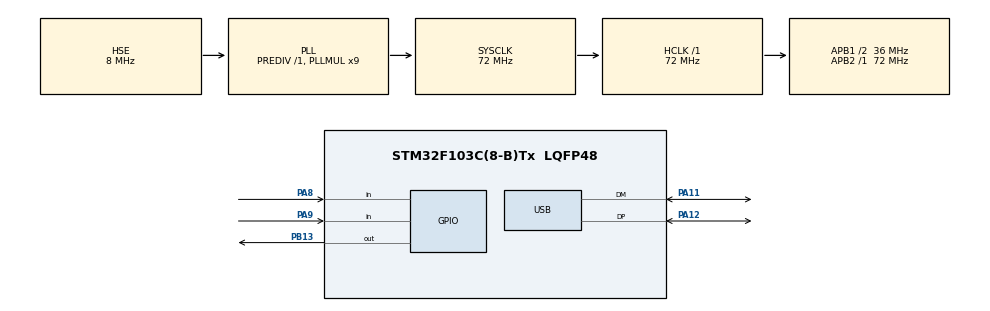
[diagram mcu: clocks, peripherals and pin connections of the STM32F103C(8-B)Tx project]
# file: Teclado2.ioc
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Mcu.Family=STM32F1
Mcu.Name=STM32F103C(8-B)Tx
Mcu.Package=LQFP48
NVIC.PriorityGroup=NVIC_PRIORITYGROUP_4
NVIC.USB_LP_CAN1_RX0_IRQn=true\:0\:0\:false\:false\:true\:false\:true
PA11.Mode=Device
PA11.Signal=USB_DM
PA12.Mode=Device
PA12.Signal=USB_DP
PA13.Mode=Serial_Wire
PA13.Signal=SYS_JTMS-SWDIO
PA14.Mode=Serial_Wire
PA14.Signal=SYS_JTCK-SWCLK
PA8.GPIO_PuPd=GPIO_PULLUP
PA8.Signal=GPIO_Input
PA9.GPIO_PuPd=GPIO_PULLUP
PA9.Signal=GPIO_Input
PB13.GPIO_PuPd=GPIO_NOPULL
PB13.Signal=GPIO_Output
PD0-OSC_IN.Mode=HSE-External-Oscillator
PD0-OSC_IN.Signal=RCC_OSC_IN
PD1-OSC_OUT.Mode=HSE-External-Oscillator
PD1-OSC_OUT.Signal=RCC_OSC_OUT
ProjectManager.HeapSize=0x200
ProjectManager.StackSize=0x400
ProjectManager.TargetToolchain=STM32CubeIDE
RCC.AHBFreq_Value=72000000
RCC.APB1CLKDivider=RCC_HCLK_DIV2
RCC.APB1Freq_Value=36000000
RCC.APB1TimFreq_Value=72000000
RCC.APB2Freq_Value=72000000
RCC.APB2TimFreq_Value=72000000
RCC.HCLKFreq_Value=72000000
RCC.PLLMUL=RCC_PLL_MUL9
RCC.SYSCLKFreq_VALUE=72000000
RCC.SYSCLKSource=RCC_SYSCLKSOURCE_PLLCLK
RCC.USBFreq_Value=48000000
RCC.USBPrescaler=RCC_USBCLKSOURCE_PLL_DIV1_5
USB_DEVICE.CLASS_NAME_FS=HID
USB_DEVICE.PRODUCT_STRING_HID_FS=STM32 Teclado
USB_DEVICE.VirtualMode=Hid
USB_DEVICE.VirtualModeFS=Hid_FS
VP_USB_DEVICE_VS_USB_DEVICE_HID_FS.Mode=HID_FS
board=custom

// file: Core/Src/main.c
/* USER CODE BEGIN Header */
/**
  ******************************************************************************
  * @file           : main.c
  * @brief          : Main program body
  ******************************************************************************
  * @attention
  *
  * <h2><center>&copy; Copyright (c) 2022 STMicroelectronics.
  * All rights reserved.</center></h2>
  *
  * This software component is licensed by ST under BSD 3-Clause license,
  * the "License"; You may not use this file except in compliance with the
  * License. You may obtain a copy of the License at:
  *                        opensource.org/licenses/BSD-3-Clause
  *
  ******************************************************************************
  */
/* USER CODE END Header */
#include "main.h"
#include "usb_device.h"

/* USER CODE BEGIN Includes */
#include "usbd_hid.h"
/* USER CODE END Includes */

void SystemClock_Config(void);
static void MX_GPIO_Init(void);

/* USER CODE BEGIN 0 */
extern USBD_HandleTypeDef hUsbDeviceFS; //variavel de outro arquivo por isso tem o extern
typedef struct
{
	uint8_t MODIFIER;
	uint8_t RESERVED;
	uint8_t KEYCODE1;
	uint8_t KEYCODE2;
	uint8_t KEYCODE3;
	uint8_t KEYCODE4;
	uint8_t KEYCODE5;
	uint8_t KEYCODE6;
} keyboardHID;

keyboardHID keyboardhid = {0,0,0,0,0,0,0,0};

/* USER CODE END 0 */

int main(void)
{
  /* MCU Configuration--------------------------------------------------------*/

  /* Reset of all peripherals, Initializes the Flash interface and the Systick. */
  HAL_Init();

  /* Configure the system clock */
  SystemClock_Config();

  /* Initialize all configured peripherals */
  MX_GPIO_Init();
  MX_USB_DEVICE_Init();

  /* Infinite loop */
  while (1)
  {

    /* USER CODE BEGIN 3 */

	  if(HAL_GPIO_ReadPin(GPIOA, GPIO_PIN_9) == 1 && HAL_GPIO_ReadPin(GPIOA, GPIO_PIN_8) == 0){ // Quando o pino 9 estiver pressionado e o pino 8 não estiver acionado;
		  	 	HAL_GPIO_WritePin(GPIOB, GPIO_PIN_13, 1); // Liga ao LED ao pressionar;
		  	 	keyboardhid.KEYCODE1 = 72; // LETRA "H";
		  	 	USBD_HID_SendReport(&hUsbDeviceFS, &keyboardhid, sizeof(keyboardhid)); // Envia;
		  	 	HAL_Delay(50);
		  	 	keyboardhid.KEYCODE1 = 0x00;// Não está pressionado;
		  	 	USBD_HID_SendReport(&hUsbDeviceFS, &keyboardhid, sizeof(keyboardhid)); //Envia;
		  	 	HAL_Delay(10);
		  	 	HAL_GPIO_WritePin(GPIOB, GPIO_PIN_13, 0); // Se não estiver pressionado, desliga o LED;

	  }

	  if(HAL_GPIO_ReadPin(GPIOA, GPIO_PIN_8) == 1 && HAL_GPIO_ReadPin(GPIOA, GPIO_PIN_9) == 0){ // Quando o pino 8 estiver pressionado e o pino 9 não estiver acionado;
		  	   	HAL_GPIO_WritePin(GPIOB, GPIO_PIN_13, 1); // Liga ao LED ao pressionar;
		  	   	keyboardhid.KEYCODE1 = 65; // LETRA "A";
		  	   	USBD_HID_SendReport(&hUsbDeviceFS, &keyboardhid, sizeof(keyboardhid)); // Envia;
		  	   	HAL_Delay(50);
		  	   	keyboardhid.KEYCODE1 = 0x00; // Não está pressionado;
		  	   	USBD_HID_SendReport(&hUsbDeviceFS, &keyboardhid, sizeof(keyboardhid)); // Envia;
		  	   	HAL_Delay(10);
		  	   	HAL_GPIO_WritePin(GPIOB, GPIO_PIN_13, 0); // Se não estiver pressionado, desliga o LED;
	  }

  }
  /* USER CODE END 3 */
}

void SystemClock_Config(void)
{
  RCC_OscInitTypeDef RCC_OscInitStruct = {0};
  RCC_ClkInitTypeDef RCC_ClkInitStruct = {0};
  RCC_PeriphCLKInitTypeDef PeriphClkInit = {0};

  /** Initializes the RCC Oscillators according to the specified parameters
  * in the RCC_OscInitTypeDef structure.
  */
  RCC_OscInitStruct.OscillatorType = RCC_OSCILLATORTYPE_HSE;
  RCC_OscInitStruct.HSEState = RCC_HSE_ON;
  RCC_OscInitStruct.HSEPredivValue = RCC_HSE_PREDIV_DIV1;
  RCC_OscInitStruct.HSIState = RCC_HSI_ON;
  RCC_OscInitStruct.PLL.PLLState = RCC_PLL_ON;
  RCC_OscInitStruct.PLL.PLLSource = RCC_PLLSOURCE_HSE;
  RCC_OscInitStruct.PLL.PLLMUL = RCC_PLL_MUL9;
  if (HAL_RCC_OscConfig(&RCC_OscInitStruct) != HAL_OK)
  {
    Error_Handler();
  }
  /** Initializes the CPU, AHB and APB buses clocks
  */
  RCC_ClkInitStruct.ClockType = RCC_CLOCKTYPE_HCLK|RCC_CLOCKTYPE_SYSCLK
                              |RCC_CLOCKTYPE_PCLK1|RCC_CLOCKTYPE_PCLK2;
  RCC_ClkInitStruct.SYSCLKSource = RCC_SYSCLKSOURCE_PLLCLK;
  RCC_ClkInitStruct.AHBCLKDivider = RCC_SYSCLK_DIV1;
  RCC_ClkInitStruct.APB1CLKDivider = RCC_HCLK_DIV2;
  RCC_ClkInitStruct.APB2CLKDivider = RCC_HCLK_DIV1;

  if (HAL_RCC_ClockConfig(&RCC_ClkInitStruct, FLASH_LATENCY_2) != HAL_OK)
  {
    Error_Handler();
  }
  PeriphClkInit.PeriphClockSelection = RCC_PERIPHCLK_USB;
  PeriphClkInit.UsbClockSelection = RCC_USBCLKSOURCE_PLL_DIV1_5;
  if (HAL_RCCEx_PeriphCLKConfig(&PeriphClkInit) != HAL_OK)
  {
    Error_Handler();
  }
}

static void MX_GPIO_Init(void)
{
  GPIO_InitTypeDef GPIO_InitStruct = {0};

  /* GPIO Ports Clock Enable */
  __HAL_RCC_GPIOD_CLK_ENABLE();
  __HAL_RCC_GPIOB_CLK_ENABLE();
  __HAL_RCC_GPIOA_CLK_ENABLE();

  /*Configure GPIO pin Output Level */
  HAL_GPIO_WritePin(GPIOB, GPIO_PIN_13, GPIO_PIN_RESET);

  /*Configure GPIO pin : PB13 */
  GPIO_InitStruct.Pin = GPIO_PIN_13;
  GPIO_InitStruct.Mode = GPIO_MODE_OUTPUT_PP;
  GPIO_InitStruct.Pull = GPIO_NOPULL;
  GPIO_InitStruct.Speed = GPIO_SPEED_FREQ_LOW;
  HAL_GPIO_Init(GPIOB, &GPIO_InitStruct);

  /*Configure GPIO pins : PA8 PA9 */
  GPIO_InitStruct.Pin = GPIO_PIN_8|GPIO_PIN_9;
  GPIO_InitStruct.Mode = GPIO_MODE_INPUT;
  GPIO_InitStruct.Pull = GPIO_PULLUP;
  HAL_GPIO_Init(GPIOA, &GPIO_InitStruct);

}

void Error_Handler(void)
{
  __disable_irq();
  while (1)
  {
  }
}

/************************ (C) COPYRIGHT STMicroelectronics *****END OF FILE****/
